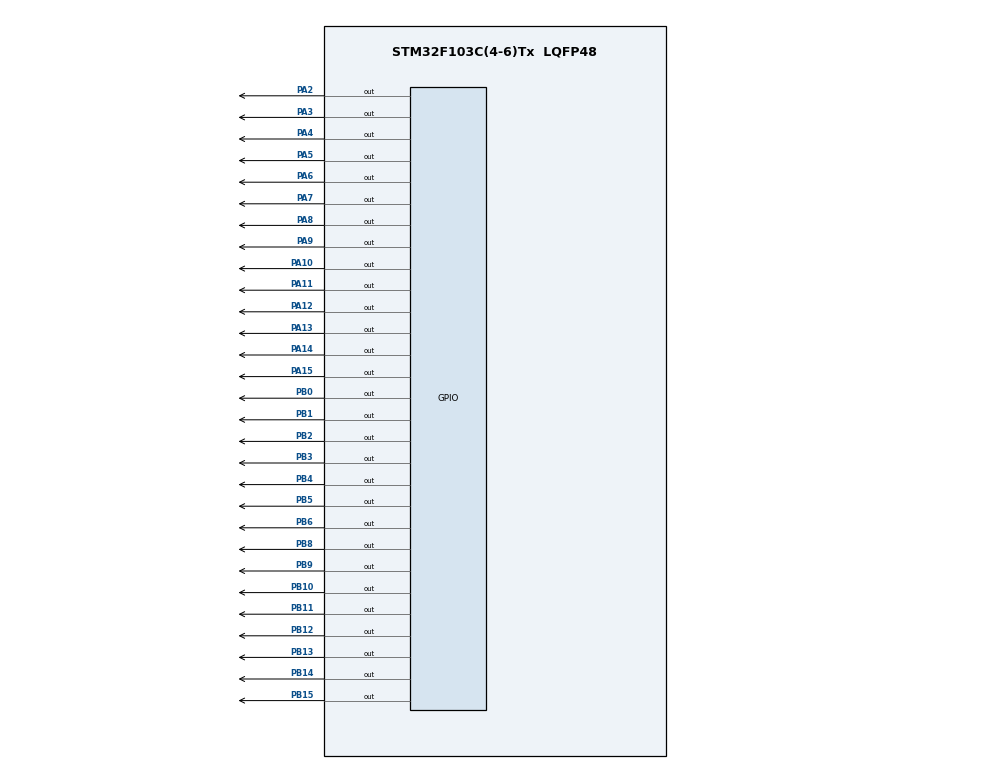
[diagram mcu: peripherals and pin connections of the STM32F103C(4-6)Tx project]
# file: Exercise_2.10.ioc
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Mcu.Family=STM32F1
Mcu.Name=STM32F103C(4-6)Tx
Mcu.Package=LQFP48
NVIC.PriorityGroup=NVIC_PRIORITYGROUP_4
NVIC.TIM2_IRQn=true\:0\:0\:false\:false\:true\:true\:true\:true
PA10.Signal=GPIO_Output
PA11.Signal=GPIO_Output
PA12.Signal=GPIO_Output
PA13.Signal=GPIO_Output
PA14.Signal=GPIO_Output
PA15.Signal=GPIO_Output
PA2.Signal=GPIO_Output
PA3.Signal=GPIO_Output
PA4.Signal=GPIO_Output
PA5.Signal=GPIO_Output
PA6.Signal=GPIO_Output
PA7.Signal=GPIO_Output
PA8.Signal=GPIO_Output
PA9.Signal=GPIO_Output
PB0.Signal=GPIO_Output
PB1.Signal=GPIO_Output
PB10.Signal=GPIO_Output
PB11.Signal=GPIO_Output
PB12.Signal=GPIO_Output
PB13.Signal=GPIO_Output
PB14.Signal=GPIO_Output
PB15.Signal=GPIO_Output
PB2.Signal=GPIO_Output
PB3.Signal=GPIO_Output
PB4.Signal=GPIO_Output
PB5.Signal=GPIO_Output
PB6.Signal=GPIO_Output
PB8.Signal=GPIO_Output
PB9.Signal=GPIO_Output
ProjectManager.HeapSize=0x200
ProjectManager.StackSize=0x400
ProjectManager.TargetToolchain=STM32CubeIDE
RCC.APB1Freq_Value=8000000
RCC.APB2Freq_Value=8000000
TIM2.Period=9
TIM2.Prescaler=7999
VP_SYS_VS_ND.Mode=No_Debug
VP_TIM2_VS_ClockSourceINT.Mode=Internal
board=custom

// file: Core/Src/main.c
/* USER CODE BEGIN Header */
/**
  ******************************************************************************
  * @file           : main.c
  * @brief          : Main program body
  ******************************************************************************
  * @attention
  *
  * Copyright (c) 2025 STMicroelectronics.
  * All rights reserved.
  *
  * This software is licensed under terms that can be found in the LICENSE file
  * in the root directory of this software component.
  * If no LICENSE file comes with this software, it is provided AS-IS.
  *
  ******************************************************************************
  */
/* USER CODE END Header */
#include "main.h"
#include "software_timer.h"

/* USER CODE BEGIN PTD */
void setCOL(uint8_t data);
void updateLEDMatrix(int index);
void number(int n);
void update7SEG(int index);
void updateClockBuffer();
/* USER CODE END PTD */

TIM_HandleTypeDef htim2;

void SystemClock_Config(void);
static void MX_GPIO_Init(void);
static void MX_TIM2_Init(void);

/* USER CODE BEGIN 0 */
const int MAX_LED_MATRIX = 8;
int index_led_matrix = 0;
uint8_t matrix_buffer[8] = {0x80, 0x01, 0x02 , 0x04 , 0x08 , 0x10 , 0x20 , 0x40};
const int MAX_LED = 4;
int index_led = 0;
int led_buffer[4] = {1,2,3,0};
int hour = 15, minute = 8, second = 50;
/* USER CODE END 0 */

int main(void)
{

  /* MCU Configuration--------------------------------------------------------*/

  /* Reset of all peripherals, Initializes the Flash interface and the Systick. */
  HAL_Init();

  /* Configure the system clock */
  SystemClock_Config();

  /* Initialize all configured peripherals */
  MX_GPIO_Init();
  MX_TIM2_Init();
  /* USER CODE BEGIN 2 */
  HAL_TIM_Base_Start_IT(&htim2);
  setTimer1(100);
  setTimer2(25);
  updateClockBuffer();
  /* USER CODE END 2 */

  /* Infinite loop */
  /* USER CODE BEGIN WHILE */
  while (1)
  {
	  if(timer1_flag == 1){
		  setTimer1(100);
		  HAL_GPIO_TogglePin(GPIOA, GPIO_PIN_5);
		  HAL_GPIO_TogglePin(GPIOA, GPIO_PIN_4);
		  second++;
		  if(second == 60){
			  second = 0;
			  minute++;
		  }
		  if(minute == 60){
			  minute = 0;
			  hour++;
		  }
		  if(hour == 24){
			  hour = 0;
		  }
		  updateClockBuffer();
	  }
	  if(timer2_flag == 1){
		  setTimer2(25);
		  update7SEG(index_led);
		  index_led++;
		  if(index_led == MAX_LED){
			  index_led = 0;
		  }
	  }

    /* USER CODE END WHILE */

  }
}

void SystemClock_Config(void)
{
  RCC_OscInitTypeDef RCC_OscInitStruct = {0};
  RCC_ClkInitTypeDef RCC_ClkInitStruct = {0};

  /** Initializes the RCC Oscillators according to the specified parameters
  * in the RCC_OscInitTypeDef structure.
  */
  RCC_OscInitStruct.OscillatorType = RCC_OSCILLATORTYPE_HSI;
  RCC_OscInitStruct.HSIState = RCC_HSI_ON;
  RCC_OscInitStruct.HSICalibrationValue = RCC_HSICALIBRATION_DEFAULT;
  RCC_OscInitStruct.PLL.PLLState = RCC_PLL_NONE;
  if (HAL_RCC_OscConfig(&RCC_OscInitStruct) != HAL_OK)
  {
    Error_Handler();
  }

  /** Initializes the CPU, AHB and APB buses clocks
  */
  RCC_ClkInitStruct.ClockType = RCC_CLOCKTYPE_HCLK|RCC_CLOCKTYPE_SYSCLK
                              |RCC_CLOCKTYPE_PCLK1|RCC_CLOCKTYPE_PCLK2;
  RCC_ClkInitStruct.SYSCLKSource = RCC_SYSCLKSOURCE_HSI;
  RCC_ClkInitStruct.AHBCLKDivider = RCC_SYSCLK_DIV1;
  RCC_ClkInitStruct.APB1CLKDivider = RCC_HCLK_DIV1;
  RCC_ClkInitStruct.APB2CLKDivider = RCC_HCLK_DIV1;

  if (HAL_RCC_ClockConfig(&RCC_ClkInitStruct, FLASH_LATENCY_0) != HAL_OK)
  {
    Error_Handler();
  }
}

static void MX_TIM2_Init(void)
{

  TIM_ClockConfigTypeDef sClockSourceConfig = {0};
  TIM_MasterConfigTypeDef sMasterConfig = {0};

  htim2.Instance = TIM2;
  htim2.Init.Prescaler = 7999;
  htim2.Init.CounterMode = TIM_COUNTERMODE_UP;
  htim2.Init.Period = 9;
  htim2.Init.ClockDivision = TIM_CLOCKDIVISION_DIV1;
  htim2.Init.AutoReloadPreload = TIM_AUTORELOAD_PRELOAD_DISABLE;
  if (HAL_TIM_Base_Init(&htim2) != HAL_OK)
  {
    Error_Handler();
  }
  sClockSourceConfig.ClockSource = TIM_CLOCKSOURCE_INTERNAL;
  if (HAL_TIM_ConfigClockSource(&htim2, &sClockSourceConfig) != HAL_OK)
  {
    Error_Handler();
  }
  sMasterConfig.MasterOutputTrigger = TIM_TRGO_RESET;
  sMasterConfig.MasterSlaveMode = TIM_MASTERSLAVEMODE_DISABLE;
  if (HAL_TIMEx_MasterConfigSynchronization(&htim2, &sMasterConfig) != HAL_OK)
  {
    Error_Handler();
  }

}

static void MX_GPIO_Init(void)
{
  GPIO_InitTypeDef GPIO_InitStruct = {0};

  /* GPIO Ports Clock Enable */
  __HAL_RCC_GPIOA_CLK_ENABLE();
  __HAL_RCC_GPIOB_CLK_ENABLE();

  /*Configure GPIO pin Output Level */
  HAL_GPIO_WritePin(GPIOA, GPIO_PIN_2|GPIO_PIN_3|GPIO_PIN_4|GPIO_PIN_5
                          |GPIO_PIN_6|GPIO_PIN_7|GPIO_PIN_8|GPIO_PIN_9
                          |GPIO_PIN_10|GPIO_PIN_11|GPIO_PIN_12|GPIO_PIN_13
                          |GPIO_PIN_14|GPIO_PIN_15, GPIO_PIN_SET);

  /*Configure GPIO pin Output Level */
  HAL_GPIO_WritePin(GPIOB, GPIO_PIN_0|GPIO_PIN_1|GPIO_PIN_2|GPIO_PIN_10
                          |GPIO_PIN_11|GPIO_PIN_12|GPIO_PIN_13|GPIO_PIN_14
                          |GPIO_PIN_15|GPIO_PIN_3|GPIO_PIN_4|GPIO_PIN_5
                          |GPIO_PIN_6|GPIO_PIN_8|GPIO_PIN_9, GPIO_PIN_SET);

  /*Configure GPIO pins : PA2 PA3 PA4 PA5
                           PA6 PA7 PA8 PA9
                           PA10 PA11 PA12 PA13
                           PA14 PA15 */
  GPIO_InitStruct.Pin = GPIO_PIN_2|GPIO_PIN_3|GPIO_PIN_4|GPIO_PIN_5
                          |GPIO_PIN_6|GPIO_PIN_7|GPIO_PIN_8|GPIO_PIN_9
                          |GPIO_PIN_10|GPIO_PIN_11|GPIO_PIN_12|GPIO_PIN_13
                          |GPIO_PIN_14|GPIO_PIN_15;
  GPIO_InitStruct.Mode = GPIO_MODE_OUTPUT_PP;
  GPIO_InitStruct.Pull = GPIO_NOPULL;
  GPIO_InitStruct.Speed = GPIO_SPEED_FREQ_LOW;
  HAL_GPIO_Init(GPIOA, &GPIO_InitStruct);

  /*Configure GPIO pins : PB0 PB1 PB2 PB10
                           PB11 PB12 PB13 PB14
                           PB15 PB3 PB4 PB5
                           PB6 PB8 PB9 */
  GPIO_InitStruct.Pin = GPIO_PIN_0|GPIO_PIN_1|GPIO_PIN_2|GPIO_PIN_10
                          |GPIO_PIN_11|GPIO_PIN_12|GPIO_PIN_13|GPIO_PIN_14
                          |GPIO_PIN_15|GPIO_PIN_3|GPIO_PIN_4|GPIO_PIN_5
                          |GPIO_PIN_6|GPIO_PIN_8|GPIO_PIN_9;
  GPIO_InitStruct.Mode = GPIO_MODE_OUTPUT_PP;
  GPIO_InitStruct.Pull = GPIO_NOPULL;
  GPIO_InitStruct.Speed = GPIO_SPEED_FREQ_LOW;
  HAL_GPIO_Init(GPIOB, &GPIO_InitStruct);

}

/* USER CODE BEGIN 4 */
uint8_t segment_code[10] = {0x3F, 0x06, 0x5B, 0x4F, 0x66,
                            0x6D, 0x7D, 0x07, 0x7F, 0x6F};

void number(int n){
    uint8_t code = segment_code[n];
    GPIOB->ODR = ~code;
}

void updateClockBuffer(){
	led_buffer[0] = hour/10;
	led_buffer[1] = hour%10;
	led_buffer[2] = minute/10;
	led_buffer[3] = minute%10;
}

void update7SEG(int index){
	switch(index){
		case 0:
			HAL_GPIO_WritePin(GPIOA, GPIO_PIN_7|GPIO_PIN_8|GPIO_PIN_9, GPIO_PIN_SET);
			HAL_GPIO_WritePin(GPIOA, GPIO_PIN_6, GPIO_PIN_RESET);
			number(led_buffer[index]);
			break;
		case 1:
			HAL_GPIO_WritePin(GPIOA, GPIO_PIN_6|GPIO_PIN_8|GPIO_PIN_9, GPIO_PIN_SET);
			HAL_GPIO_WritePin(GPIOA, GPIO_PIN_7, GPIO_PIN_RESET);
			number(led_buffer[index]);
			break;
		case 2:
			HAL_GPIO_WritePin(GPIOA, GPIO_PIN_6|GPIO_PIN_7|GPIO_PIN_9, GPIO_PIN_SET);
			HAL_GPIO_WritePin(GPIOA, GPIO_PIN_8, GPIO_PIN_RESET);
			number(led_buffer[index]);
			break;
		case 3:
			HAL_GPIO_WritePin(GPIOA, GPIO_PIN_6|GPIO_PIN_7|GPIO_PIN_8, GPIO_PIN_SET);
			HAL_GPIO_WritePin(GPIOA, GPIO_PIN_9, GPIO_PIN_RESET);
			number(led_buffer[index]);
			break;
		default:
			break;
	}
}

void setCOL(uint8_t data){
	HAL_GPIO_WritePin(GPIOA, GPIO_PIN_2|GPIO_PIN_3|GPIO_PIN_10|GPIO_PIN_11|GPIO_PIN_12|GPIO_PIN_13|GPIO_PIN_14|GPIO_PIN_15, GPIO_PIN_SET);
	switch(data){
		case 0x01:
			HAL_GPIO_WritePin(GPIOA, GPIO_PIN_2, GPIO_PIN_RESET);
			break;
		case 0x02:
			HAL_GPIO_WritePin(GPIOA, GPIO_PIN_3, GPIO_PIN_RESET);
			break;
		case 0x04:
			HAL_GPIO_WritePin(GPIOA, GPIO_PIN_10, GPIO_PIN_RESET);
			break;
		case 0x08:
			HAL_GPIO_WritePin(GPIOA, GPIO_PIN_11, GPIO_PIN_RESET);
			break;
		case 0x010:
			HAL_GPIO_WritePin(GPIOA, GPIO_PIN_12, GPIO_PIN_RESET);
			break;
		case 0x20:
			HAL_GPIO_WritePin(GPIOA, GPIO_PIN_13, GPIO_PIN_RESET);
			break;
		case 0x40:
			HAL_GPIO_WritePin(GPIOA, GPIO_PIN_14, GPIO_PIN_RESET);
			break;
		case 0x80:
			HAL_GPIO_WritePin(GPIOA, GPIO_PIN_15, GPIO_PIN_RESET);
			break;
		default:
			HAL_GPIO_WritePin(GPIOA, GPIO_PIN_2|GPIO_PIN_3|GPIO_PIN_10|GPIO_PIN_11|GPIO_PIN_12|GPIO_PIN_13|GPIO_PIN_14|GPIO_PIN_15, GPIO_PIN_SET);
			break;
	}
}

void updateLEDMatrix(int index){
	HAL_GPIO_WritePin(GPIOB, GPIO_PIN_8|GPIO_PIN_9|GPIO_PIN_10|GPIO_PIN_11|GPIO_PIN_12|GPIO_PIN_13|GPIO_PIN_14|GPIO_PIN_15, GPIO_PIN_SET);
	switch(index){
		case 0:
			HAL_GPIO_WritePin(GPIOB, GPIO_PIN_8|GPIO_PIN_9|GPIO_PIN_10|GPIO_PIN_11|GPIO_PIN_12|GPIO_PIN_13|GPIO_PIN_14|GPIO_PIN_15, GPIO_PIN_SET);
			break;
		case 1:
			HAL_GPIO_WritePin(GPIOB, GPIO_PIN_10|GPIO_PIN_11|GPIO_PIN_12|GPIO_PIN_13|GPIO_PIN_14|GPIO_PIN_15, GPIO_PIN_RESET);
			HAL_GPIO_WritePin(GPIOB, GPIO_PIN_8|GPIO_PIN_9, GPIO_PIN_SET);
			break;
		case 2:
			HAL_GPIO_WritePin(GPIOB, GPIO_PIN_9|GPIO_PIN_12, GPIO_PIN_RESET);
			HAL_GPIO_WritePin(GPIOB, GPIO_PIN_8|GPIO_PIN_10|GPIO_PIN_11|GPIO_PIN_13|GPIO_PIN_14|GPIO_PIN_15, GPIO_PIN_SET);
			break;
		case 3:
			HAL_GPIO_WritePin(GPIOB, GPIO_PIN_8|GPIO_PIN_12, GPIO_PIN_RESET);
			HAL_GPIO_WritePin(GPIOB, GPIO_PIN_9|GPIO_PIN_10|GPIO_PIN_11|GPIO_PIN_13|GPIO_PIN_14|GPIO_PIN_15, GPIO_PIN_SET);
			break;
		case 4:
			HAL_GPIO_WritePin(GPIOB, GPIO_PIN_8|GPIO_PIN_12, GPIO_PIN_RESET);
			HAL_GPIO_WritePin(GPIOB, GPIO_PIN_9|GPIO_PIN_10|GPIO_PIN_11|GPIO_PIN_13|GPIO_PIN_14|GPIO_PIN_15, GPIO_PIN_SET);
			break;
		case 5:
			HAL_GPIO_WritePin(GPIOB, GPIO_PIN_9|GPIO_PIN_12, GPIO_PIN_RESET);
			HAL_GPIO_WritePin(GPIOB, GPIO_PIN_8|GPIO_PIN_10|GPIO_PIN_11|GPIO_PIN_13|GPIO_PIN_14|GPIO_PIN_15, GPIO_PIN_SET);
			break;
		case 6:
			HAL_GPIO_WritePin(GPIOB, GPIO_PIN_10|GPIO_PIN_11|GPIO_PIN_12|GPIO_PIN_13|GPIO_PIN_14|GPIO_PIN_15, GPIO_PIN_RESET);
			HAL_GPIO_WritePin(GPIOB, GPIO_PIN_8|GPIO_PIN_9, GPIO_PIN_SET);
			break;
		case 7:
			HAL_GPIO_WritePin(GPIOB, GPIO_PIN_8|GPIO_PIN_9|GPIO_PIN_10|GPIO_PIN_11|GPIO_PIN_12|GPIO_PIN_13|GPIO_PIN_14|GPIO_PIN_15, GPIO_PIN_SET);
			break;
		default:
			HAL_GPIO_WritePin(GPIOB, GPIO_PIN_8|GPIO_PIN_9|GPIO_PIN_10|GPIO_PIN_11|GPIO_PIN_12|GPIO_PIN_13|GPIO_PIN_14|GPIO_PIN_15, GPIO_PIN_SET);
			break;
	}
}

int count = 0;
void HAL_TIM_PeriodElapsedCallback(TIM_HandleTypeDef *htim){
	timerRun();
	setCOL(matrix_buffer[index_led_matrix]);
	updateLEDMatrix(index_led_matrix);
	if(matrix_buffer[index_led_matrix] == 0x80){
		matrix_buffer[index_led_matrix] = 0x01;
	}
	else{
		matrix_buffer[index_led_matrix] <<= 1;
	}
	index_led_matrix++;
	if(index_led_matrix == MAX_LED_MATRIX){
		index_led_matrix = 0;
		count ++;
	}
	if(count >= 3){
		count = 0;
		matrix_buffer[0] = 0x80;
		matrix_buffer[1] = 0x01;
		matrix_buffer[2] = 0x02;
		matrix_buffer[3] = 0x04;
		matrix_buffer[4] = 0x08;
		matrix_buffer[5] = 0x10;
		matrix_buffer[6] = 0x20;
		matrix_buffer[7] = 0x40;
	}
}
/* USER CODE END 4 */

void Error_Handler(void)
{
  __disable_irq();
  while (1)
  {
  }
}
